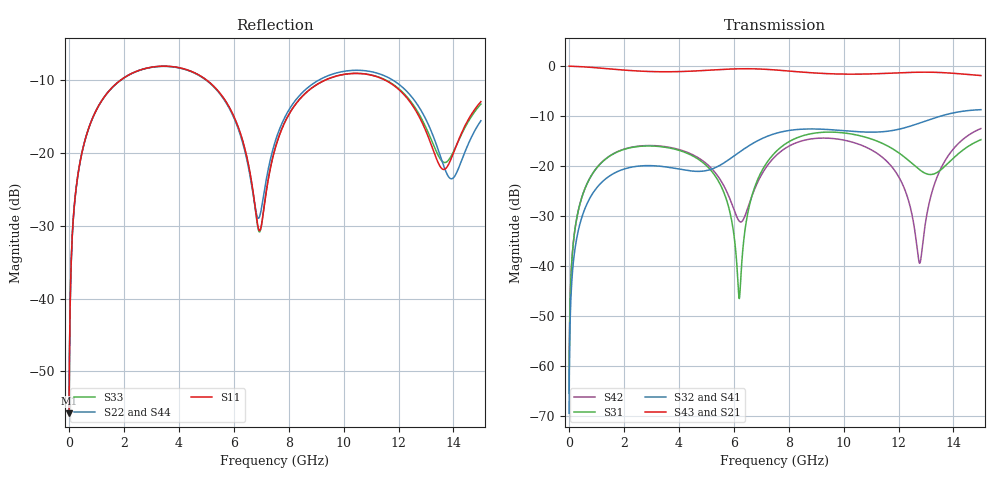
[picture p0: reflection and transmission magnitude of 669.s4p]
! Created with skrf 1.8.0 (http://scikit-rf.org).
# GHz S RI R 50.0
!freq ReS11 ImS11 ReS12 ImS12 ReS13 ImS13
! ReS14 ImS14
! ReS21 ImS21 ReS22 ImS22 ReS23 ImS23
! ReS24 ImS24
! ReS31 ImS31 ReS32 ImS32 ReS33 ImS33
! ReS34 ImS34
! ReS41 ImS41 ReS42 ImS42 ReS43 ImS43
! ReS44 ImS44
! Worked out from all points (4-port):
!   2499 points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, 5 MHz to 15 GHz, reference 50 ohm
!   strongest paths, dB at 5 MHz, 3.476 GHz, 7.19 GHz, 11.1 GHz, 15 GHz:
!     S43: 0.0, -1.1, -0.6, -1.5, -1.9
!     S21: 0.0, -1.1, -0.6, -1.5, -1.9
!     S32: -69.5, -20.1, -14.1, -13.2, -8.7
!     S41: -69.5, -20.2, -14.1, -13.4, -8.8
!     S31: -65.4, -16.2, -19.4, -14.7, -14.7
!     S42: -65.4, -16.1, -20.2, -17.0, -12.5
!   lowest |S11| = -55.7 dB at 5 MHz (marker M1), VSWR 1.00, Z = 50.1 + j0.0989 ohm
!   |S11| at or under -10 dB: start of sweep to 1.89 GHz; 5.006 GHz to 9.344 GHz (4.338 GHz wide, 60.5 % of centre); 11.5 GHz to end of sweep
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0.005  0.0013 0.000986  0.9987 -0.00253  6.5e-05 0.000533  -6.3e-05 -0.000331
       0.9987 -0.00253  0.0013 0.000986  -6.3e-05 -0.000331  6.5e-05 0.000533
       6.5e-05 0.000533  -6.3e-05 -0.000331  0.0013 0.000986  0.9987 -0.00253
       -6.3e-05 -0.000331  6.5e-05 0.000533  0.9987 -0.00253  0.0013 0.000986
0.3626511  0.0204 0.0755  0.9721 -0.1831  0.00957 0.037  -0.00798 -0.0228
           0.9721 -0.1831  0.0203 0.0755  -0.00799 -0.0228  0.00971 0.037
           0.00957 0.037  -0.00799 -0.0228  0.0203 0.0755  0.9721 -0.1831
           -0.00798 -0.0228  0.00971 0.037  0.9721 -0.1831  0.0203 0.0755
1.875782  0.2563 0.1827  0.5781 -0.7133  0.1253 0.0688  -0.0899 -0.011
          0.5781 -0.7133  0.2554 0.1834  -0.0901 -0.0108  0.1275 0.066
          0.1253 0.0688  -0.0901 -0.0108  0.2561 0.1829  0.5781 -0.7133
          -0.0899 -0.011  0.1275 0.066  0.5781 -0.7133  0.2555 0.1833
6.196332  0.069 -0.1269  -0.8615 -0.376  0.00474 0.000393  -0.0524 0.1268
          -0.8615 -0.376  0.0732 -0.1198  -0.0489 0.1282  -0.025 -0.013
          0.00474 0.000393  -0.0489 0.1282  0.0688 -0.1259  -0.8617 -0.3759
          -0.0524 0.1268  -0.025 -0.013  -0.8617 -0.3759  0.0726 -0.1191
6.871613  0.0286 -0.0146  -0.9338 -0.0768  0.0203 0.0705  -0.0129 0.1788
          -0.9338 -0.0768  0.0352 -0.00688  -0.00828 0.1792  -0.0186 0.0665
          0.0203 0.0705  -0.00828 0.1792  0.0281 -0.0137  -0.9339 -0.0765
          -0.0129 0.1788  -0.0186 0.0665  -0.9339 -0.0765  0.0353 -0.00533
12.77407  0.1301 -0.1153  0.6872 0.5342  -0.0659 -0.0637  0.1652 -0.2125
          0.6872 0.5342  0.136 -0.1497  0.1521 -0.2228  0.0101 0.00355
          -0.0659 -0.0637  0.1521 -0.2228  0.1398 -0.1146  0.6846 0.5357
          0.1652 -0.2125  0.0101 0.00355  0.6846 0.5357  0.1353 -0.1574
15  0.189 0.1211  0.749 -0.2907  0.099 0.1547  -0.1673 -0.324
    0.749 -0.2907  0.1387 0.0912  -0.186 -0.316  0.1947 0.1356
    0.099 0.1547  -0.186 -0.316  0.1862 0.1095  0.7517 -0.2876
    -0.1673 -0.324  0.1947 0.1356  0.7517 -0.2876  0.1366 0.0886
